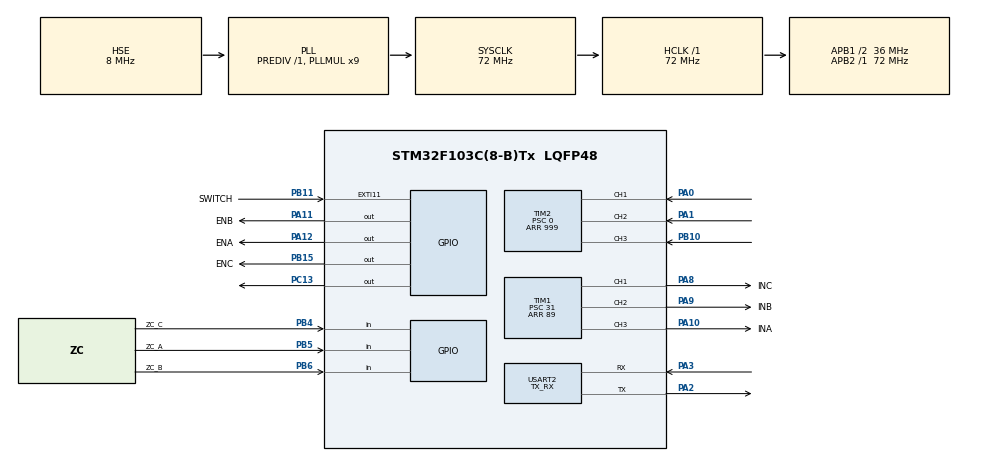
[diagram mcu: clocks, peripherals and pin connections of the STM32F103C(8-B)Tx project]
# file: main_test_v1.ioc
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Dma.Request0=USART2_TX
Dma.USART2_TX.0.Direction=DMA_MEMORY_TO_PERIPH
Dma.USART2_TX.0.Instance=DMA1_Channel7
Dma.USART2_TX.0.MemDataAlignment=DMA_MDATAALIGN_BYTE
Dma.USART2_TX.0.MemInc=DMA_MINC_ENABLE
Dma.USART2_TX.0.Mode=DMA_NORMAL
Dma.USART2_TX.0.PeriphDataAlignment=DMA_PDATAALIGN_BYTE
Dma.USART2_TX.0.PeriphInc=DMA_PINC_DISABLE
Dma.USART2_TX.0.Priority=DMA_PRIORITY_LOW
Mcu.Family=STM32F1
Mcu.Name=STM32F103C(8-B)Tx
Mcu.Package=LQFP48
NVIC.DMA1_Channel7_IRQn=true\:0\:0\:false\:false\:true\:false\:true\:true
NVIC.EXTI15_10_IRQn=true\:0\:0\:false\:false\:true\:true\:true\:true
NVIC.PriorityGroup=NVIC_PRIORITYGROUP_4
NVIC.RCC_IRQn=true\:0\:0\:false\:false\:true\:true\:false\:true
NVIC.TIM1_BRK_IRQn=true\:0\:0\:false\:false\:true\:true\:true\:true
NVIC.TIM1_CC_IRQn=true\:0\:0\:false\:false\:true\:true\:true\:true
NVIC.TIM1_TRG_COM_IRQn=true\:0\:0\:false\:false\:true\:true\:true\:true
NVIC.TIM1_UP_IRQn=true\:0\:0\:false\:false\:true\:true\:true\:true
NVIC.TIM2_IRQn=true\:0\:0\:false\:false\:true\:true\:true\:true
NVIC.TIM3_IRQn=true\:0\:0\:false\:false\:true\:true\:true\:true
NVIC.USART2_IRQn=true\:0\:0\:false\:false\:true\:true\:true\:true
PA0-WKUP.Signal=S_TIM2_CH1_ETR
PA1.Signal=S_TIM2_CH2
PA10.GPIO_Label=INA
PA10.Signal=S_TIM1_CH3
PA11.GPIO_Label=ENB
PA11.GPIO_Speed=GPIO_SPEED_FREQ_HIGH
PA11.Signal=GPIO_Output
PA12.GPIO_Label=ENA
PA12.GPIO_Speed=GPIO_SPEED_FREQ_HIGH
PA12.Signal=GPIO_Output
PA13.Mode=Serial_Wire
PA13.Signal=SYS_JTMS-SWDIO
PA14.Mode=Serial_Wire
PA14.Signal=SYS_JTCK-SWCLK
PA2.Mode=Asynchronous
PA2.Signal=USART2_TX
PA3.Mode=Asynchronous
PA3.Signal=USART2_RX
PA8.GPIO_Label=INC
PA8.Signal=S_TIM1_CH1
PA9.GPIO_Label=INB
PA9.Signal=S_TIM1_CH2
PB10.Signal=S_TIM2_CH3
PB11.GPIO_Label=SWITCH
PB11.GPIO_PuPd=GPIO_PULLUP
PB11.Signal=GPXTI11
PB15.GPIO_Label=ENC
PB15.GPIO_Speed=GPIO_SPEED_FREQ_HIGH
PB15.Signal=GPIO_Output
PB4.GPIO_Label=ZC_C
PB4.GPIO_PuPd=GPIO_PULLUP
PB4.Signal=GPIO_Input
PB5.GPIO_Label=ZC_A
PB5.GPIO_PuPd=GPIO_PULLUP
PB5.Signal=GPIO_Input
PB6.GPIO_Label=ZC_B
PB6.GPIO_PuPd=GPIO_PULLUP
PB6.Signal=GPIO_Input
PC13-TAMPER-RTC.Signal=GPIO_Output
PD0-OSC_IN.Mode=HSE-External-Oscillator
PD0-OSC_IN.Signal=RCC_OSC_IN
PD1-OSC_OUT.Mode=HSE-External-Oscillator
PD1-OSC_OUT.Signal=RCC_OSC_OUT
ProjectManager.HeapSize=0x200
ProjectManager.StackSize=0x400
ProjectManager.TargetToolchain=STM32CubeIDE
RCC.AHBFreq_Value=72000000
RCC.APB1CLKDivider=RCC_HCLK_DIV2
RCC.APB1Freq_Value=36000000
RCC.APB1TimFreq_Value=72000000
RCC.APB2Freq_Value=72000000
RCC.APB2TimFreq_Value=72000000
RCC.HCLKFreq_Value=72000000
RCC.PLLMUL=RCC_PLL_MUL9
RCC.PLLSourceVirtual=RCC_PLLSOURCE_HSE
RCC.SYSCLKFreq_VALUE=72000000
RCC.SYSCLKSource=RCC_SYSCLKSOURCE_PLLCLK
RCC.USBFreq_Value=72000000
SH.S_TIM1_CH1.0=TIM1_CH1,PWM Generation1 CH1
SH.S_TIM1_CH2.0=TIM1_CH2,PWM Generation2 CH2
SH.S_TIM1_CH3.0=TIM1_CH3,PWM Generation3 CH3
SH.S_TIM2_CH1_ETR.0=TIM2_CH1,Encoder_Interface
SH.S_TIM2_CH2.0=TIM2_CH2,Encoder_Interface
SH.S_TIM2_CH3.0=TIM2_CH3,Input_Capture3_from_TI3
TIM1.AutoReloadPreload=TIM_AUTORELOAD_PRELOAD_ENABLE
TIM1.Channel-PWM\ Generation1\ CH1=TIM_CHANNEL_1
TIM1.Channel-PWM\ Generation2\ CH2=TIM_CHANNEL_2
TIM1.Channel-PWM\ Generation3\ CH3=TIM_CHANNEL_3
TIM1.CounterMode=TIM_COUNTERMODE_CENTERALIGNED1
TIM1.Period=89
TIM1.Prescaler=31
TIM2.AutoReloadPreload=TIM_AUTORELOAD_PRELOAD_ENABLE
TIM2.Channel-Input_Capture3_from_TI3=TIM_CHANNEL_3
TIM2.EncoderMode=TIM_ENCODERMODE_TI12
TIM2.IC1Filter=10
TIM2.Period=999
TIM2.Prescaler=0
TIM3.Period=999
TIM3.Prescaler=7199
USART2.Mode=MODE_TX_RX
USART2.VirtualMode=VM_ASYNC
VP_TIM3_VS_ClockSourceINT.Mode=Internal
board=custom

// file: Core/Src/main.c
/* USER CODE BEGIN Header */
/**
  ******************************************************************************
  * @file           : main.c
  * @brief          : Main program body
  ******************************************************************************
  * @attention
  *
  * Copyright (c) 2024 STMicroelectronics.
  * All rights reserved.
  *
  * This software is licensed under terms that can be found in the LICENSE file
  * in the root directory of this software component.
  * If no LICENSE file comes with this software, it is provided AS-IS.
  *
  ******************************************************************************
  */
/* USER CODE END Header */
#include "main.h"

/* USER CODE BEGIN Includes */
#include <stdbool.h>
#include "states.h"
/* USER CODE END Includes */

TIM_HandleTypeDef htim1;
TIM_HandleTypeDef htim2;
TIM_HandleTypeDef htim3;

UART_HandleTypeDef huart2;
DMA_HandleTypeDef hdma_usart2_tx;

/* USER CODE BEGIN PV */
uint8_t step = 1;
uint32_t encoderValue;
bool direction = false;

volatile uint8_t zc_b_state;
volatile uint8_t zc_c_state;
volatile uint8_t zc_a_state;

/* USER CODE END PV */

void SystemClock_Config(void);
static void MX_GPIO_Init(void);
static void MX_DMA_Init(void);
static void MX_TIM1_Init(void);
static void MX_TIM2_Init(void);
static void MX_TIM3_Init(void);
static void MX_USART2_UART_Init(void);
/* USER CODE BEGIN PFP */

void pwmCycle(uint16_t step, const uint8_t pwmValue);
/* USER CODE END PFP */

/* USER CODE BEGIN 0 */
void HAL_TIM_PeriodElapsedCallback(TIM_HandleTypeDef *htim) {
    if (htim->Instance == TIM3) {
        pwmCycle(step, 45); // Ejecutar el ciclo PWM para el paso actual

        // Ajustar el siguiente paso según la dirección
        if (direction) {
            step = (step % 6) + 1; // Avanzar en la secuencia (1 → 6)
        } else {
            step = (step - 2 + 6) % 6 + 1; // Retroceder en la secuencia (6 → 1)
        }
    }
}

void HAL_GPIO_EXTI_Callback(uint16_t GPIO_Pin) {
	if (GPIO_Pin == SWITCH_Pin) {
		HAL_GPIO_TogglePin(GPIOC, GPIO_PIN_13);
		direction = !direction;
	}
}
void pwmCycle(uint16_t step,const uint8_t pwmValue){

	switch(step){
	case 1: //A+ B- C0
		HAL_GPIO_WritePin(GPIOA, ENA_Pin, GPIO_PIN_SET);
		HAL_GPIO_WritePin(GPIOA, ENB_Pin, GPIO_PIN_SET);
		HAL_GPIO_WritePin(GPIOB, ENC_Pin, GPIO_PIN_RESET);
		__HAL_TIM_SET_COMPARE(&htim1, TIM_CHANNEL_3, pwmValue);
		__HAL_TIM_SET_COMPARE(&htim1, TIM_CHANNEL_2, 0);
		break;
    case 2: //A+ B0 C-
        HAL_GPIO_WritePin(GPIOA, ENA_Pin, GPIO_PIN_SET);
		HAL_GPIO_WritePin(GPIOA, ENB_Pin, GPIO_PIN_RESET);
		HAL_GPIO_WritePin(GPIOB, ENC_Pin, GPIO_PIN_SET);
		__HAL_TIM_SET_COMPARE(&htim1, TIM_CHANNEL_3, pwmValue);
		__HAL_TIM_SET_COMPARE(&htim1, TIM_CHANNEL_1, 0);
		break;
	case 3: //A0 B+ C-
		HAL_GPIO_WritePin(GPIOA, ENA_Pin, GPIO_PIN_RESET);
		HAL_GPIO_WritePin(GPIOA, ENB_Pin, GPIO_PIN_SET);
		HAL_GPIO_WritePin(GPIOB, ENC_Pin, GPIO_PIN_SET);
		__HAL_TIM_SET_COMPARE(&htim1, TIM_CHANNEL_2, pwmValue);
		__HAL_TIM_SET_COMPARE(&htim1, TIM_CHANNEL_1, 0);
		break;
	case 4: //A- B+ C0
		HAL_GPIO_WritePin(GPIOA, ENA_Pin, GPIO_PIN_SET);
		HAL_GPIO_WritePin(GPIOA, ENB_Pin, GPIO_PIN_SET);
		HAL_GPIO_WritePin(GPIOB, ENC_Pin, GPIO_PIN_RESET);
		__HAL_TIM_SET_COMPARE(&htim1, TIM_CHANNEL_2, pwmValue);
		__HAL_TIM_SET_COMPARE(&htim1, TIM_CHANNEL_3, 0);
		break;
	case 5: //A- B0 C+
		HAL_GPIO_WritePin(GPIOA, ENA_Pin, GPIO_PIN_SET);
		HAL_GPIO_WritePin(GPIOA, ENB_Pin, GPIO_PIN_RESET);
		HAL_GPIO_WritePin(GPIOB, ENC_Pin, GPIO_PIN_SET);
		__HAL_TIM_SET_COMPARE(&htim1, TIM_CHANNEL_1, pwmValue);
		__HAL_TIM_SET_COMPARE(&htim1, TIM_CHANNEL_3, 0);
		break;
	case 6: //A0 B- C+
		HAL_GPIO_WritePin(GPIOA, ENA_Pin, GPIO_PIN_RESET);
		HAL_GPIO_WritePin(GPIOA, ENB_Pin, GPIO_PIN_SET);
		HAL_GPIO_WritePin(GPIOB, ENC_Pin, GPIO_PIN_SET);
		__HAL_TIM_SET_COMPARE(&htim1, TIM_CHANNEL_1, pwmValue);
		__HAL_TIM_SET_COMPARE(&htim1, TIM_CHANNEL_2, 0);
		break;

	}
}
/* USER CODE END 0 */

int main(void)
{

  /* MCU Configuration--------------------------------------------------------*/

  /* Reset of all peripherals, Initializes the Flash interface and the Systick. */
  HAL_Init();

  /* Configure the system clock */
  SystemClock_Config();

  /* Initialize all configured peripherals */
  MX_GPIO_Init();
  MX_DMA_Init();
  MX_TIM1_Init();
  MX_TIM2_Init();
  MX_TIM3_Init();
  MX_USART2_UART_Init();
  /* USER CODE BEGIN 2 */
HAL_TIM_PWM_Start(&htim1, TIM_CHANNEL_1);
HAL_TIM_PWM_Start(&htim1, TIM_CHANNEL_2);
HAL_TIM_PWM_Start(&htim1, TIM_CHANNEL_3);
HAL_TIM_Encoder_Start(&htim2, TIM_CHANNEL_ALL);
HAL_TIM_Base_Start_IT(&htim3);
  /* USER CODE END 2 */

  /* Infinite loop */
  /* USER CODE BEGIN WHILE */
  while (1)
  {
	   encoderValue = __HAL_TIM_GET_COUNTER(&htim2);
	     __HAL_TIM_SET_AUTORELOAD(&htim3, encoderValue);
	     zc_b_state = HAL_GPIO_ReadPin(GPIOB, ZC_B_Pin);
	     zc_c_state = HAL_GPIO_ReadPin(GPIOB, ZC_C_Pin);
	     zc_a_state = HAL_GPIO_ReadPin(GPIOB, ZC_A_Pin);
	     // Convertir a valores enteros y enviar
	     ITM_SendChar(zc_b_state + '0');
    /* USER CODE END WHILE */

  }
}

void SystemClock_Config(void)
{
  RCC_OscInitTypeDef RCC_OscInitStruct = {0};
  RCC_ClkInitTypeDef RCC_ClkInitStruct = {0};

  /** Initializes the RCC Oscillators according to the specified parameters
  * in the RCC_OscInitTypeDef structure.
  */
  RCC_OscInitStruct.OscillatorType = RCC_OSCILLATORTYPE_HSE;
  RCC_OscInitStruct.HSEState = RCC_HSE_ON;
  RCC_OscInitStruct.HSEPredivValue = RCC_HSE_PREDIV_DIV1;
  RCC_OscInitStruct.HSIState = RCC_HSI_ON;
  RCC_OscInitStruct.PLL.PLLState = RCC_PLL_ON;
  RCC_OscInitStruct.PLL.PLLSource = RCC_PLLSOURCE_HSE;
  RCC_OscInitStruct.PLL.PLLMUL = RCC_PLL_MUL9;
  if (HAL_RCC_OscConfig(&RCC_OscInitStruct) != HAL_OK)
  {
    Error_Handler();
  }

  /** Initializes the CPU, AHB and APB buses clocks
  */
  RCC_ClkInitStruct.ClockType = RCC_CLOCKTYPE_HCLK|RCC_CLOCKTYPE_SYSCLK
                              |RCC_CLOCKTYPE_PCLK1|RCC_CLOCKTYPE_PCLK2;
  RCC_ClkInitStruct.SYSCLKSource = RCC_SYSCLKSOURCE_PLLCLK;
  RCC_ClkInitStruct.AHBCLKDivider = RCC_SYSCLK_DIV1;
  RCC_ClkInitStruct.APB1CLKDivider = RCC_HCLK_DIV2;
  RCC_ClkInitStruct.APB2CLKDivider = RCC_HCLK_DIV1;

  if (HAL_RCC_ClockConfig(&RCC_ClkInitStruct, FLASH_LATENCY_2) != HAL_OK)
  {
    Error_Handler();
  }
}

static void MX_TIM1_Init(void)
{

  TIM_MasterConfigTypeDef sMasterConfig = {0};
  TIM_OC_InitTypeDef sConfigOC = {0};
  TIM_BreakDeadTimeConfigTypeDef sBreakDeadTimeConfig = {0};

  htim1.Instance = TIM1;
  htim1.Init.Prescaler = 31;
  htim1.Init.CounterMode = TIM_COUNTERMODE_CENTERALIGNED1;
  htim1.Init.Period = 89;
  htim1.Init.ClockDivision = TIM_CLOCKDIVISION_DIV1;
  htim1.Init.RepetitionCounter = 0;
  htim1.Init.AutoReloadPreload = TIM_AUTORELOAD_PRELOAD_ENABLE;
  if (HAL_TIM_PWM_Init(&htim1) != HAL_OK)
  {
    Error_Handler();
  }
  sMasterConfig.MasterOutputTrigger = TIM_TRGO_RESET;
  sMasterConfig.MasterSlaveMode = TIM_MASTERSLAVEMODE_DISABLE;
  if (HAL_TIMEx_MasterConfigSynchronization(&htim1, &sMasterConfig) != HAL_OK)
  {
    Error_Handler();
  }
  sConfigOC.OCMode = TIM_OCMODE_PWM1;
  sConfigOC.Pulse = 0;
  sConfigOC.OCPolarity = TIM_OCPOLARITY_HIGH;
  sConfigOC.OCNPolarity = TIM_OCNPOLARITY_HIGH;
  sConfigOC.OCFastMode = TIM_OCFAST_DISABLE;
  sConfigOC.OCIdleState = TIM_OCIDLESTATE_RESET;
  sConfigOC.OCNIdleState = TIM_OCNIDLESTATE_RESET;
  if (HAL_TIM_PWM_ConfigChannel(&htim1, &sConfigOC, TIM_CHANNEL_1) != HAL_OK)
  {
    Error_Handler();
  }
  if (HAL_TIM_PWM_ConfigChannel(&htim1, &sConfigOC, TIM_CHANNEL_2) != HAL_OK)
  {
    Error_Handler();
  }
  if (HAL_TIM_PWM_ConfigChannel(&htim1, &sConfigOC, TIM_CHANNEL_3) != HAL_OK)
  {
    Error_Handler();
  }
  sBreakDeadTimeConfig.OffStateRunMode = TIM_OSSR_DISABLE;
  sBreakDeadTimeConfig.OffStateIDLEMode = TIM_OSSI_DISABLE;
  sBreakDeadTimeConfig.LockLevel = TIM_LOCKLEVEL_OFF;
  sBreakDeadTimeConfig.DeadTime = 0;
  sBreakDeadTimeConfig.BreakState = TIM_BREAK_DISABLE;
  sBreakDeadTimeConfig.BreakPolarity = TIM_BREAKPOLARITY_HIGH;
  sBreakDeadTimeConfig.AutomaticOutput = TIM_AUTOMATICOUTPUT_DISABLE;
  if (HAL_TIMEx_ConfigBreakDeadTime(&htim1, &sBreakDeadTimeConfig) != HAL_OK)
  {
    Error_Handler();
  }
  HAL_TIM_MspPostInit(&htim1);

}

static void MX_TIM2_Init(void)
{

  TIM_Encoder_InitTypeDef sConfig = {0};
  TIM_MasterConfigTypeDef sMasterConfig = {0};
  TIM_IC_InitTypeDef sConfigIC = {0};

  htim2.Instance = TIM2;
  htim2.Init.Prescaler = 0;
  htim2.Init.CounterMode = TIM_COUNTERMODE_UP;
  htim2.Init.Period = 999;
  htim2.Init.ClockDivision = TIM_CLOCKDIVISION_DIV1;
  htim2.Init.AutoReloadPreload = TIM_AUTORELOAD_PRELOAD_ENABLE;
  if (HAL_TIM_IC_Init(&htim2) != HAL_OK)
  {
    Error_Handler();
  }
  sConfig.EncoderMode = TIM_ENCODERMODE_TI12;
  sConfig.IC1Polarity = TIM_ICPOLARITY_RISING;
  sConfig.IC1Selection = TIM_ICSELECTION_DIRECTTI;
  sConfig.IC1Prescaler = TIM_ICPSC_DIV1;
  sConfig.IC1Filter = 10;
  sConfig.IC2Polarity = TIM_ICPOLARITY_RISING;
  sConfig.IC2Selection = TIM_ICSELECTION_DIRECTTI;
  sConfig.IC2Prescaler = TIM_ICPSC_DIV1;
  sConfig.IC2Filter = 0;
  if (HAL_TIM_Encoder_Init(&htim2, &sConfig) != HAL_OK)
  {
    Error_Handler();
  }
  sMasterConfig.MasterOutputTrigger = TIM_TRGO_RESET;
  sMasterConfig.MasterSlaveMode = TIM_MASTERSLAVEMODE_DISABLE;
  if (HAL_TIMEx_MasterConfigSynchronization(&htim2, &sMasterConfig) != HAL_OK)
  {
    Error_Handler();
  }
  sConfigIC.ICPolarity = TIM_INPUTCHANNELPOLARITY_RISING;
  sConfigIC.ICSelection = TIM_ICSELECTION_DIRECTTI;
  sConfigIC.ICPrescaler = TIM_ICPSC_DIV1;
  sConfigIC.ICFilter = 0;
  if (HAL_TIM_IC_ConfigChannel(&htim2, &sConfigIC, TIM_CHANNEL_3) != HAL_OK)
  {
    Error_Handler();
  }

}

static void MX_TIM3_Init(void)
{

  TIM_ClockConfigTypeDef sClockSourceConfig = {0};
  TIM_MasterConfigTypeDef sMasterConfig = {0};

  htim3.Instance = TIM3;
  htim3.Init.Prescaler = 7199;
  htim3.Init.CounterMode = TIM_COUNTERMODE_UP;
  htim3.Init.Period = 999;
  htim3.Init.ClockDivision = TIM_CLOCKDIVISION_DIV1;
  htim3.Init.AutoReloadPreload = TIM_AUTORELOAD_PRELOAD_DISABLE;
  if (HAL_TIM_Base_Init(&htim3) != HAL_OK)
  {
    Error_Handler();
  }
  sClockSourceConfig.ClockSource = TIM_CLOCKSOURCE_INTERNAL;
  if (HAL_TIM_ConfigClockSource(&htim3, &sClockSourceConfig) != HAL_OK)
  {
    Error_Handler();
  }
  sMasterConfig.MasterOutputTrigger = TIM_TRGO_RESET;
  sMasterConfig.MasterSlaveMode = TIM_MASTERSLAVEMODE_DISABLE;
  if (HAL_TIMEx_MasterConfigSynchronization(&htim3, &sMasterConfig) != HAL_OK)
  {
    Error_Handler();
  }

}

static void MX_USART2_UART_Init(void)
{

  huart2.Instance = USART2;
  huart2.Init.BaudRate = 115200;
  huart2.Init.WordLength = UART_WORDLENGTH_8B;
  huart2.Init.StopBits = UART_STOPBITS_1;
  huart2.Init.Parity = UART_PARITY_NONE;
  huart2.Init.Mode = UART_MODE_TX_RX;
  huart2.Init.HwFlowCtl = UART_HWCONTROL_NONE;
  huart2.Init.OverSampling = UART_OVERSAMPLING_16;
  if (HAL_UART_Init(&huart2) != HAL_OK)
  {
    Error_Handler();
  }

}

static void MX_DMA_Init(void)
{

  /* DMA controller clock enable */
  __HAL_RCC_DMA1_CLK_ENABLE();

  /* DMA interrupt init */
  /* DMA1_Channel7_IRQn interrupt configuration */
  HAL_NVIC_SetPriority(DMA1_Channel7_IRQn, 0, 0);
  HAL_NVIC_EnableIRQ(DMA1_Channel7_IRQn);

}

static void MX_GPIO_Init(void)
{
  GPIO_InitTypeDef GPIO_InitStruct = {0};

  /* GPIO Ports Clock Enable */
  __HAL_RCC_GPIOC_CLK_ENABLE();
  __HAL_RCC_GPIOD_CLK_ENABLE();
  __HAL_RCC_GPIOA_CLK_ENABLE();
  __HAL_RCC_GPIOB_CLK_ENABLE();

  /*Configure GPIO pin Output Level */
  HAL_GPIO_WritePin(GPIOC, GPIO_PIN_13, GPIO_PIN_RESET);

  /*Configure GPIO pin Output Level */
  HAL_GPIO_WritePin(ENC_GPIO_Port, ENC_Pin, GPIO_PIN_RESET);

  /*Configure GPIO pin Output Level */
  HAL_GPIO_WritePin(GPIOA, ENB_Pin|ENA_Pin, GPIO_PIN_RESET);

  /*Configure GPIO pin : PC13 */
  GPIO_InitStruct.Pin = GPIO_PIN_13;
  GPIO_InitStruct.Mode = GPIO_MODE_OUTPUT_PP;
  GPIO_InitStruct.Pull = GPIO_NOPULL;
  GPIO_InitStruct.Speed = GPIO_SPEED_FREQ_LOW;
  HAL_GPIO_Init(GPIOC, &GPIO_InitStruct);

  /*Configure GPIO pin : SWITCH_Pin */
  GPIO_InitStruct.Pin = SWITCH_Pin;
  GPIO_InitStruct.Mode = GPIO_MODE_IT_RISING;
  GPIO_InitStruct.Pull = GPIO_PULLUP;
  HAL_GPIO_Init(SWITCH_GPIO_Port, &GPIO_InitStruct);

  /*Configure GPIO pin : ENC_Pin */
  GPIO_InitStruct.Pin = ENC_Pin;
  GPIO_InitStruct.Mode = GPIO_MODE_OUTPUT_PP;
  GPIO_InitStruct.Pull = GPIO_NOPULL;
  GPIO_InitStruct.Speed = GPIO_SPEED_FREQ_HIGH;
  HAL_GPIO_Init(ENC_GPIO_Port, &GPIO_InitStruct);

  /*Configure GPIO pins : ENB_Pin ENA_Pin */
  GPIO_InitStruct.Pin = ENB_Pin|ENA_Pin;
  GPIO_InitStruct.Mode = GPIO_MODE_OUTPUT_PP;
  GPIO_InitStruct.Pull = GPIO_NOPULL;
  GPIO_InitStruct.Speed = GPIO_SPEED_FREQ_HIGH;
  HAL_GPIO_Init(GPIOA, &GPIO_InitStruct);

  /*Configure GPIO pins : ZC_C_Pin ZC_A_Pin ZC_B_Pin */
  GPIO_InitStruct.Pin = ZC_C_Pin|ZC_A_Pin|ZC_B_Pin;
  GPIO_InitStruct.Mode = GPIO_MODE_INPUT;
  GPIO_InitStruct.Pull = GPIO_PULLUP;
  HAL_GPIO_Init(GPIOB, &GPIO_InitStruct);

  /* EXTI interrupt init*/
  HAL_NVIC_SetPriority(EXTI15_10_IRQn, 0, 0);
  HAL_NVIC_EnableIRQ(EXTI15_10_IRQn);

}

void Error_Handler(void)
{
  __disable_irq();
  while (1)
  {
  }
}
